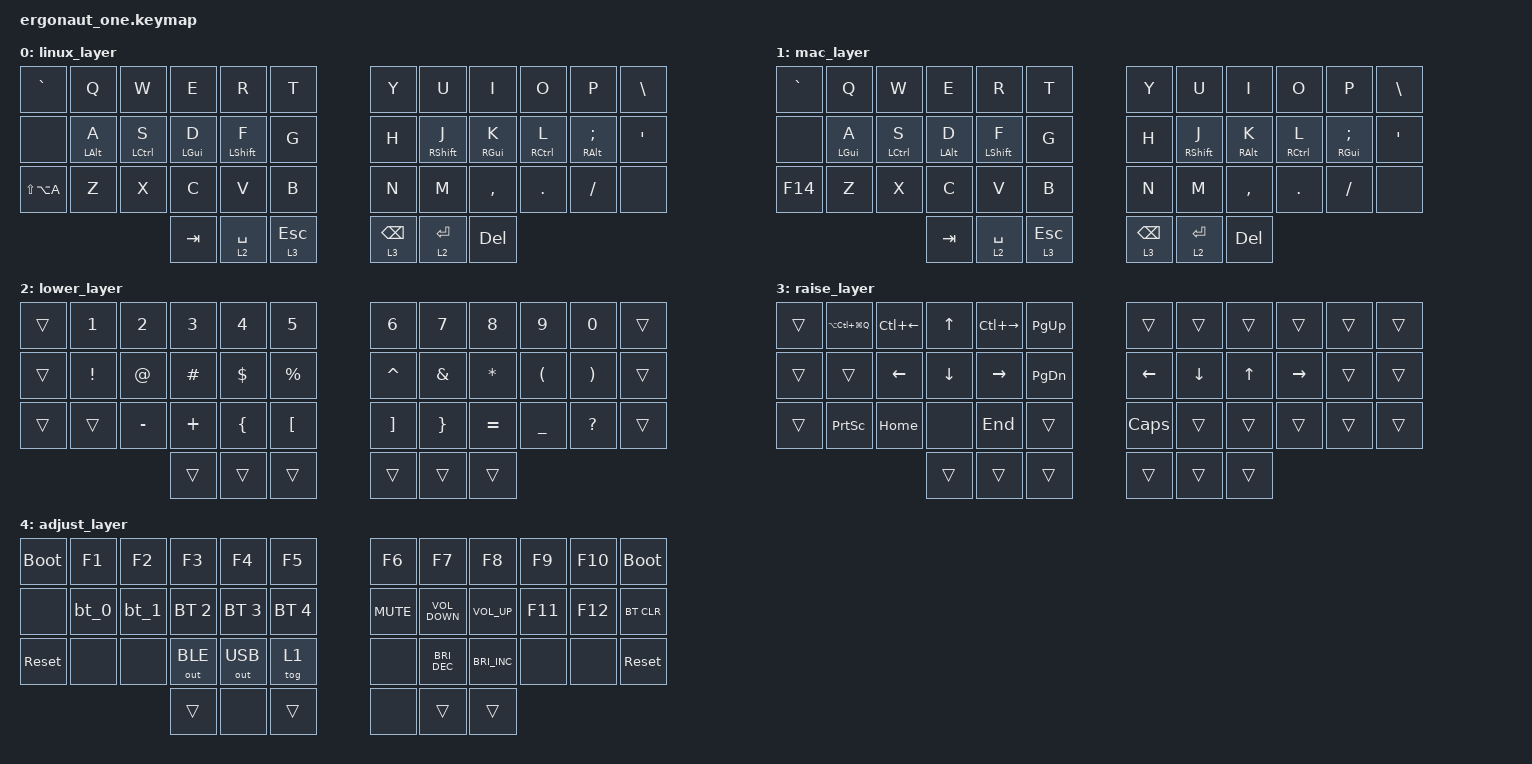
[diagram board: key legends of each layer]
#include <behaviors.dtsi>
#include <dt-bindings/zmk/bt.h>
#include <dt-bindings/zmk/keys.h>
#include <dt-bindings/zmk/outputs.h>

#define LIN 0
#define MAC 1
#define LWR 2
#define RSE 3
#define ADJ 4

&lt { quick-tap-ms = <200>; };

&mt { quick-tap-ms = <200>; };

/ {
    conditional_layers {
        compatible = "zmk,conditional-layers";

        tri-layer {
            if-layers = <2 3>;
            then-layer = <4>;
        };
    };

    behaviors {
        tog_on: toggle_layer_on_only {
            compatible = "zmk,behavior-toggle-layer";
            #binding-cells = <1>;
            display-name = "Toggle Layer On";
            toggle-mode = "on";
        };

        tog_off: toggle_layer_off_only {
            compatible = "zmk,behavior-toggle-layer";
            #binding-cells = <1>;
            display-name = "Toggle Layer Off";
            toggle-mode = "off";
        };
    };

    macros {
        bt_0: bt_0 {
            label = "bt_0";
            compatible = "zmk,behavior-macro";
            #binding-cells = <0>;
            bindings =
                <&macro_tap>,
                <&bt BT_SEL 0>,
                <&macro_tap>,
                <&out OUT_BLE>;
        };

        bt_1: bt_1 {
            label = "bt_1";
            compatible = "zmk,behavior-macro";
            #binding-cells = <0>;
            bindings =
                <&macro_tap>,
                <&bt BT_SEL 1>,
                <&macro_tap>,
                <&out OUT_BLE>;
        };
    };

    keymap {
        compatible = "zmk,keymap";

        linux_layer {
            bindings = <
&kp GRAVE      &kp Q           &kp W        &kp E           &kp R             &kp T      &kp Y            &kp U              &kp I            &kp O        &kp P               &kp BACKSLASH
&none          &mt LEFT_ALT A  &mt LCTRL S  &mt LEFT_GUI D  &mt LEFT_SHIFT F  &kp G      &kp H            &mt RIGHT_SHIFT J  &mt RIGHT_GUI K  &mt RCTRL L  &mt RIGHT_ALT SEMI  &kp SQT
&kp LS(LA(A))  &kp Z           &kp X        &kp C           &kp V             &kp B      &kp N            &kp M              &kp COMMA        &kp DOT      &kp FSLH            &none
                                            &kp TAB         &lt 2 SPACE       &lt 3 ESC  &lt 3 BACKSPACE  &lt 2 RET          &kp DEL
            >;
        };

        mac_layer {
            bindings = <
&kp GRAVE  &kp Q           &kp W        &kp E           &kp R             &kp T      &kp Y            &kp U              &kp I            &kp O        &kp P               &kp BACKSLASH
&none      &mt LEFT_GUI A  &mt LCTRL S  &mt LEFT_ALT D  &mt LEFT_SHIFT F  &kp G      &kp H            &mt RIGHT_SHIFT J  &mt RIGHT_ALT K  &mt RCTRL L  &mt RIGHT_GUI SEMI  &kp SQT
&kp F14    &kp Z           &kp X        &kp C           &kp V             &kp B      &kp N            &kp M              &kp COMMA        &kp DOT      &kp FSLH            &none
                                        &kp TAB         &lt 2 SPACE       &lt 3 ESC  &lt 3 BACKSPACE  &lt 2 RET          &kp DEL
            >;
        };

        lower_layer {
            bindings = <
&trans  &kp NUMBER_1  &kp NUMBER_2  &kp NUMBER_3  &kp NUMBER_4    &kp N5            &kp NUMBER_6       &kp N7           &kp N8     &kp N9          &kp N0        &trans
&trans  &kp EXCL      &kp AT        &kp HASH      &kp DLLR        &kp PRCNT         &kp CARET          &kp AMPS         &kp STAR   &kp LPAR        &kp RPAR      &trans
&trans  &trans        &kp MINUS     &kp PLUS      &kp LEFT_BRACE  &kp LEFT_BRACKET  &kp RIGHT_BRACKET  &kp RIGHT_BRACE  &kp EQUAL  &kp UNDERSCORE  &kp QUESTION  &trans
                                    &trans        &trans          &trans            &trans             &trans           &trans
            >;
        };

        raise_layer {
            bindings = <
&trans  &kp LA(LC(LG(Q)))  &kp LC(LEFT)  &kp UP    &kp LC(RIGHT)  &kp PAGE_UP    &trans        &trans    &trans  &trans     &trans  &trans
&trans  &trans             &kp LEFT      &kp DOWN  &kp RIGHT      &kp PAGE_DOWN  &kp LEFT      &kp DOWN  &kp UP  &kp RIGHT  &trans  &trans
&trans  &kp PRINTSCREEN    &kp HOME      &none     &kp END        &trans         &kp CAPSLOCK  &trans    &trans  &trans     &trans  &trans
                                         &trans    &trans         &trans         &trans        &trans    &trans
            >;
        };

        adjust_layer {
            bindings = <
&bootloader  &kp F1  &kp F2  &kp F3        &kp F4        &kp F5        &kp F6      &kp F7                &kp F8                &kp F9   &kp F10  &bootloader
&none        &bt_0   &bt_1   &bt BT_SEL 2  &bt BT_SEL 3  &bt BT_SEL 4  &kp K_MUTE  &kp C_VOLUME_DOWN     &kp C_VOLUME_UP       &kp F11  &kp F12  &bt BT_CLR
&sys_reset   &none   &none   &out OUT_BLE  &out OUT_USB  &tog 1        &none       &kp C_BRIGHTNESS_DEC  &kp C_BRIGHTNESS_INC  &none    &none    &sys_reset
                             &trans        &none         &trans        &none       &trans                &trans
            >;
        };
    };
};
